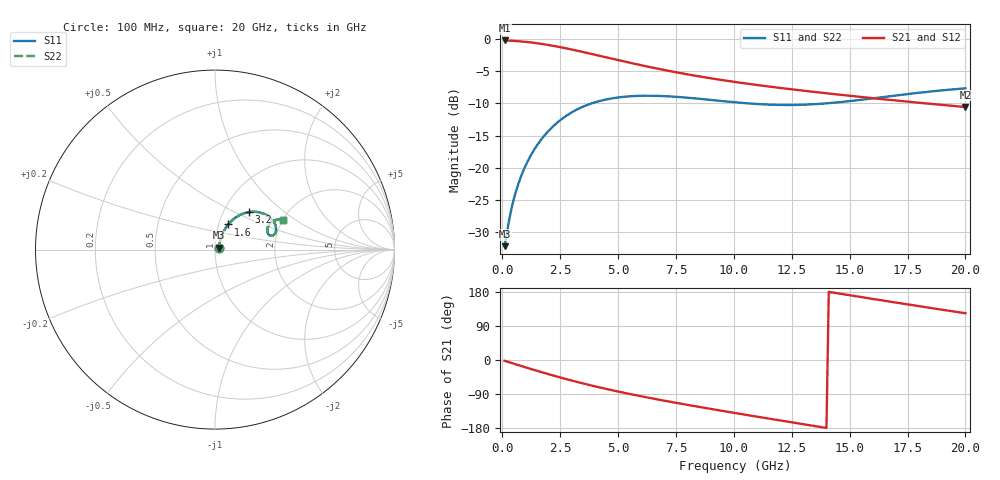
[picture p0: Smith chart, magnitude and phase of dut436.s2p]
! Touchstone file exported from HFSS 2024.1.0
!  File:  C:/UserFiles/LocalFiles/RDL_TSV_Batchsim/temp_RDL_TSV_436_1779721387.aedt
!  Generated:  11:20:25 PM May 25, 2026
!  Design:  RDL_TSV
!  Project:  temp_RDL_TSV_436_1779721387
!  Setup:  Setup1
!  Solution:  Sweep
! Variables:
!  dtsv = 5.82um
!  hbump = 3um
!  htsv = 57um
!  ldown = 494.85um
!  lrdl = 556.52um
!  p = 40
!  p1 = 59.17um
!  rhole = 10um
!  subl = 3710.63um
!  t = 450um
!  tdown = 3.83um
!  trdl = 2.76um
!  viad = 10um
!  wdown = 20.85um
!  wrdl = 20.23um
!  xbump = 18um
# GHz S MA R 50.000000
! Terminal data exported
! Port[1] = TM1_1_T1
! Port[2] = TM1_4_T1
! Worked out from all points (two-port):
!   200 points, 100 MHz to 20 GHz, reference 50 ohm
!   highest |S21| = -0.19 dB at 100 MHz (marker M1); lowest = -10.6 dB at 20 GHz (marker M2)
!   |S21| within 3 dB of the highest: start of sweep to 4.933 GHz
!   lowest |S11| = -32.2 dB at 100 MHz (marker M3), VSWR 1.05, Z = 52.2 + j1.11 ohm
!   |S11| at or under -10 dB: start of sweep to 3.854 GHz; 10.64 GHz to 13.96 GHz (3.322 GHz wide, 27 % of centre)
!   |S22| runs from -32.2 to -7.7 dB; largest |S21 - S12| = 7.5e-15
!   S11 on the Smith chart (normalised r, x): 100 MHz: 1.04, +0.02; 1.6 GHz: 1.11, +0.32; 3.2 GHz: 1.31, +0.60; 20 GHz: 2.01, +0.81
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0.1  0.02447 25.6  0.9779 -2.0  0.9779 -2.0  0.02446 25.6
! Gamma 0 0 0 0
! Port Impedance 50 0 50 0
0.3  0.03952 50.6  0.9749 -5.9  0.9749 -5.9  0.03952 50.6
0.4  0.04826 55.8  0.9727 -7.9  0.9727 -7.9  0.04826 55.8
0.7  0.07536 62.7  0.9646 -13.6  0.9646 -13.6  0.07536 62.7
1.1  0.1124 64.4  0.95 -21.2  0.95 -21.2  0.1124 64.4
1.6  0.1583 62.3  0.9252 -30.4  0.9252 -30.4  0.1583 62.3
2  0.1935 59.3  0.9012 -37.5  0.9012 -37.5  0.1935 59.3
2.4  0.2263 55.7  0.8745 -44.4  0.8745 -44.4  0.2264 55.7
3.2  0.2821 47.7  0.8164 -57.4  0.8164 -57.4  0.2823 47.8
3.5  0.2991 44.8  0.7941 -62.1  0.7941 -62.1  0.2993 44.8
4.2  0.3301 38.1  0.7429 -72.3  0.7429 -72.3  0.3305 38.2
5.1  0.3537 30.6  0.6814 -84.5  0.6814 -84.5  0.3543 30.7
5.9  0.3622 25.1  0.6328 -94.6  0.6328 -94.6  0.3629 25.1
6.8  0.3616 20.2  0.5851 -105.2  0.5851 -105.2  0.3625 20.2
8.4  0.3452 14.9  0.5172 -122.7  0.5172 -122.7  0.3463 14.9
10.1  0.3222 13.9  0.4632 -140.4  0.4632 -140.4  0.3235 13.8
11.7  0.3087 16.5  0.4239 -156.5  0.4239 -156.5  0.3098 16.3
13.4  0.3113 21.1  0.39 -173.4  0.39 -173.4  0.312 20.8
15  0.3296 24.6  0.3627 170.9  0.3627 170.9  0.3299 24.3
16.7  0.359 26.2  0.3374 154.4  0.3374 154.4  0.3588 25.9
18.3  0.3882 25.7  0.3162 139.2  0.3162 139.2  0.3876 25.4
20  0.4145 23.7  0.2967 123.4  0.2967 123.4  0.4136 23.4
